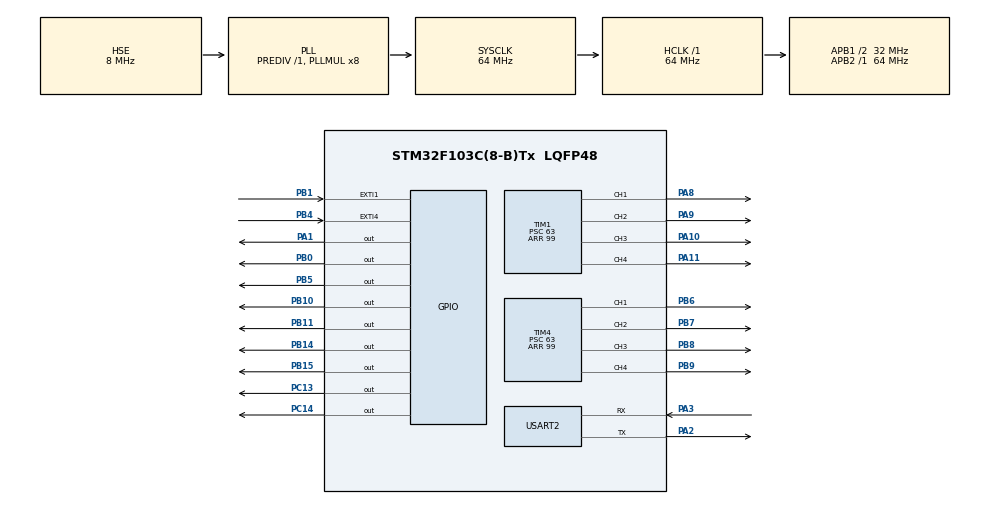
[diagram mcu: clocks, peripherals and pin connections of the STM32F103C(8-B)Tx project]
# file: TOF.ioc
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IWDG.Prescaler=IWDG_PRESCALER_64
IWDG.Reload=1875
Mcu.Family=STM32F1
Mcu.Name=STM32F103C(8-B)Tx
Mcu.Package=LQFP48
NVIC.EXTI1_IRQn=true\:1\:0\:true\:false\:true\:true\:true
NVIC.EXTI4_IRQn=true\:2\:0\:true\:false\:true\:true\:true
NVIC.PriorityGroup=NVIC_PRIORITYGROUP_2
PA1.Signal=GPIO_Output
PA10.Signal=S_TIM1_CH3
PA11.Signal=S_TIM1_CH4
PA13.Mode=Serial_Wire
PA13.Signal=SYS_JTMS-SWDIO
PA14.Mode=Serial_Wire
PA14.Signal=SYS_JTCK-SWCLK
PA2.Mode=Asynchronous
PA2.Signal=USART2_TX
PA3.Mode=Asynchronous
PA3.Signal=USART2_RX
PA8.Signal=S_TIM1_CH1
PA9.Signal=S_TIM1_CH2
PB0.Signal=GPIO_Output
PB1.Signal=GPXTI1
PB10.Signal=GPIO_Output
PB11.Signal=GPIO_Output
PB14.Signal=GPIO_Output
PB15.Signal=GPIO_Output
PB4.GPIO_ModeDefaultEXTI=GPIO_MODE_IT_FALLING
PB4.GPIO_PuPd=GPIO_PULLUP
PB4.Signal=GPXTI4
PB5.Signal=GPIO_Output
PB6.Signal=S_TIM4_CH1
PB7.Signal=S_TIM4_CH2
PB8.Signal=S_TIM4_CH3
PB9.Signal=S_TIM4_CH4
PC13-TAMPER-RTC.GPIO_ModeDefaultOutputPP=GPIO_MODE_OUTPUT_OD
PC13-TAMPER-RTC.Signal=GPIO_Output
PC14-OSC32_IN.GPIO_ModeDefaultOutputPP=GPIO_MODE_OUTPUT_OD
PC14-OSC32_IN.Signal=GPIO_Output
PD0-OSC_IN.Mode=HSE-External-Oscillator
PD0-OSC_IN.Signal=RCC_OSC_IN
PD1-OSC_OUT.Mode=HSE-External-Oscillator
PD1-OSC_OUT.Signal=RCC_OSC_OUT
ProjectManager.HeapSize=0x200
ProjectManager.StackSize=0x400
ProjectManager.TargetToolchain=MDK-ARM V5
RCC.AHBFreq_Value=64000000
RCC.APB1CLKDivider=RCC_HCLK_DIV2
RCC.APB1Freq_Value=32000000
RCC.APB1TimFreq_Value=64000000
RCC.APB2Freq_Value=64000000
RCC.APB2TimFreq_Value=64000000
RCC.EnbaleCSS=true
RCC.HCLKFreq_Value=64000000
RCC.PLLMUL=RCC_PLL_MUL8
RCC.PLLSourceVirtual=RCC_PLLSOURCE_HSE
RCC.SYSCLKFreq_VALUE=64000000
RCC.SYSCLKSource=RCC_SYSCLKSOURCE_PLLCLK
RCC.TimSys_Div=SYSTICK_CLKSOURCE_HCLK_DIV8
RCC.USBFreq_Value=64000000
SH.S_TIM1_CH1.0=TIM1_CH1,PWM Generation1 CH1
SH.S_TIM1_CH2.0=TIM1_CH2,PWM Generation2 CH2
SH.S_TIM1_CH3.0=TIM1_CH3,PWM Generation3 CH3
SH.S_TIM1_CH4.0=TIM1_CH4,PWM Generation4 CH4
SH.S_TIM4_CH1.0=TIM4_CH1,PWM Generation1 CH1
SH.S_TIM4_CH2.0=TIM4_CH2,PWM Generation2 CH2
SH.S_TIM4_CH3.0=TIM4_CH3,PWM Generation3 CH3
SH.S_TIM4_CH4.0=TIM4_CH4,PWM Generation4 CH4
TIM1.AutoReloadPreload=TIM_AUTORELOAD_PRELOAD_ENABLE
TIM1.Channel-PWM\ Generation1\ CH1=TIM_CHANNEL_1
TIM1.Channel-PWM\ Generation2\ CH2=TIM_CHANNEL_2
TIM1.Channel-PWM\ Generation3\ CH3=TIM_CHANNEL_3
TIM1.Channel-PWM\ Generation4\ CH4=TIM_CHANNEL_4
TIM1.Period=99
TIM1.Prescaler=63
TIM4.AutoReloadPreload=TIM_AUTORELOAD_PRELOAD_ENABLE
TIM4.Channel-PWM\ Generation1\ CH1=TIM_CHANNEL_1
TIM4.Channel-PWM\ Generation2\ CH2=TIM_CHANNEL_2
TIM4.Channel-PWM\ Generation3\ CH3=TIM_CHANNEL_3
TIM4.Channel-PWM\ Generation4\ CH4=TIM_CHANNEL_4
TIM4.Period=99
TIM4.Prescaler=63
USART2.VirtualMode=VM_ASYNC
VP_IWDG_VS_IWDG.Mode=IWDG_Activate
VP_TIM1_VS_ClockSourceINT.Mode=Internal
VP_TIM4_VS_ClockSourceINT.Mode=Internal
board=custom

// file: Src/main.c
/* USER CODE BEGIN Header */
/**
  ******************************************************************************
  * @file           : main.c
  * @brief          : Main program body
  ******************************************************************************
  * @attention
  *
  * <h2><center>&copy; Copyright (c) 2020 STMicroelectronics.
  * All rights reserved.</center></h2>
  *
  * This software component is licensed by ST under BSD 3-Clause license,
  * the "License"; You may not use this file except in compliance with the
  * License. You may obtain a copy of the License at:
  *                        opensource.org/licenses/BSD-3-Clause
  *
  ******************************************************************************
  */
/* USER CODE END Header */

#include "main.h"
#include "iwdg.h"
#include "tim.h"
#include "usart.h"
#include "gpio.h"

/* USER CODE BEGIN Includes */
#include "i2c.h"
#include "report.h"
#include "ads7924.h"
#include "vl53l0x.h"
#include "os_app_hooks.h"
#include "task_includes.h"
/* USER CODE END Includes */

/* USER CODE BEGIN PD */
#define DBG_TAG		"main"
#define DBG_LEVEL	DBG_LOG
#include "debug.h"
/* USER CODE END PD */

/* USER CODE BEGIN PV */

/* Private variables ---------------------------------------------------------*/
//注意这里任务优先级从3开始，1和2分别被
//时钟节拍任务和定时器任务占用
//任务优先级
#define START_TASK_PRIO  3
//任务堆栈大小
#define START_STK_SIZE 256
__IO OS_TCB StartTaskTCB;
//任务堆栈
__align(8) __IO CPU_STK START_TASK_STK[START_STK_SIZE];
//任务函数
void start_task(void *p_arg);
/* USER CODE END PV */

void SystemClock_Config(void);

int main(void)
{

  /* MCU Configuration--------------------------------------------------------*/

  /* Reset of all peripherals, Initializes the Flash interface and the Systick. */
  HAL_Init();

  /* USER CODE BEGIN Init */
	OS_ERR err;
	CPU_SR_ALLOC();
	CPU_IntDis();
  /* USER CODE END Init */

  /* Configure the system clock */
  SystemClock_Config();

  /* Initialize all configured peripherals */
  MX_GPIO_Init();
  MX_IWDG_Init();
  MX_TIM1_Init();
  MX_TIM4_Init();
  MX_USART2_UART_Init();
  /* USER CODE BEGIN 2 */

	/*注意 硬件初始化放这里 不能正常运行 要要放到开始任务里面初始化*/
	OSInit(&err);			//初始化UCOSIII
	OS_CRITICAL_ENTER();	//进入临界区

	//创建开始任务,减少任务的创建时间，使得系统最快进入运行状态
	OSTaskCreate((OS_TCB 	* )&StartTaskTCB,		//任务控制块
				 (CPU_CHAR	* )"start task", 		//任务名字
                 (OS_TASK_PTR )start_task, 			//任务函数
                 (void		* )0,					//传递给任务函数的参数
                 (OS_PRIO	  )START_TASK_PRIO,     //任务优先级
                 (CPU_STK   * )&START_TASK_STK[0],	//任务堆栈基地址
                 (CPU_STK_SIZE)START_STK_SIZE/10,	//任务堆栈深度限位
                 (CPU_STK_SIZE)START_STK_SIZE,		//任务堆栈大小
                 (OS_MSG_QTY  )0,					//任务内部消息队列能够接收的最大消息数目,为0时禁止接收消息
                 (OS_TICK	  )0,					//当使能时间片轮转时的时间片长度，为0时为默认长度，
                 (void   	* )0,					//用户补充的存储区
                 (OS_OPT      )OS_OPT_TASK_STK_CHK|OS_OPT_TASK_STK_CLR, //任务选项
                 (OS_ERR 	* )&err);				//存放该函数错误时的返回值

	OS_CRITICAL_EXIT(); 	//退出临界区
	OSStart(&err); 			//开启UCOSIII
	CPU_IntEn();
  /* USER CODE END 2 */

  /* Infinite loop */
  while (1)
  {

  }
}

void SystemClock_Config(void)
{
  RCC_OscInitTypeDef RCC_OscInitStruct = {0};
  RCC_ClkInitTypeDef RCC_ClkInitStruct = {0};

  /** Initializes the CPU, AHB and APB busses clocks
  */
  RCC_OscInitStruct.OscillatorType = RCC_OSCILLATORTYPE_LSI|RCC_OSCILLATORTYPE_HSE;
  RCC_OscInitStruct.HSEState = RCC_HSE_ON;
  RCC_OscInitStruct.HSEPredivValue = RCC_HSE_PREDIV_DIV1;
  RCC_OscInitStruct.HSIState = RCC_HSI_ON;
  RCC_OscInitStruct.LSIState = RCC_LSI_ON;
  RCC_OscInitStruct.PLL.PLLState = RCC_PLL_ON;
  RCC_OscInitStruct.PLL.PLLSource = RCC_PLLSOURCE_HSE;
  RCC_OscInitStruct.PLL.PLLMUL = RCC_PLL_MUL8;
  if (HAL_RCC_OscConfig(&RCC_OscInitStruct) != HAL_OK)
  {
    Error_Handler();
  }
  /** Initializes the CPU, AHB and APB busses clocks
  */
  RCC_ClkInitStruct.ClockType = RCC_CLOCKTYPE_HCLK|RCC_CLOCKTYPE_SYSCLK
                              |RCC_CLOCKTYPE_PCLK1|RCC_CLOCKTYPE_PCLK2;
  RCC_ClkInitStruct.SYSCLKSource = RCC_SYSCLKSOURCE_PLLCLK;
  RCC_ClkInitStruct.AHBCLKDivider = RCC_SYSCLK_DIV1;
  RCC_ClkInitStruct.APB1CLKDivider = RCC_HCLK_DIV2;
  RCC_ClkInitStruct.APB2CLKDivider = RCC_HCLK_DIV1;

  if (HAL_RCC_ClockConfig(&RCC_ClkInitStruct, FLASH_LATENCY_2) != HAL_OK)
  {
    Error_Handler();
  }
  /** Enables the Clock Security System
  */
  HAL_RCC_EnableCSS();
}

/* USER CODE BEGIN 4 */

//开始任务
void start_task(void *p_arg)
{
	OS_ERR err;
	CPU_SR_ALLOC();
	p_arg = p_arg;

	CPU_Init();
#if OS_CFG_STAT_TASK_EN > 0u
   OSStatTaskCPUUsageInit(&err);  	//统计任务
#endif

#ifdef CPU_CFG_INT_DIS_MEAS_EN		//如果使能了测量中断关闭时间
    CPU_IntDisMeasMaxCurReset();
#endif

#if	OS_CFG_SCHED_ROUND_ROBIN_EN  	//当使用时间片轮转的时候
	//使能时间片轮转调度功能,时间片长度为1个系统时钟节拍，既1*1=1ms
	OSSchedRoundRobinCfg(DEF_ENABLED,1,&err);
#endif
#if OS_CFG_APP_HOOKS_EN > 0u
    App_OS_SetAllHooks();			//使用钩子函数时初始化钩子指针
#endif

	OS_CRITICAL_ENTER();			//进入临界区

	/*	wait for master's response	*/
//	while(REPORT_ERROR == report_send_info(REPORT_START))
//	{
//		LOG_W("send start info,get master ack failed!");
//	}

	/* DEVICE INIT CODE BEGIN */

	i2c_bus_init();
	extern VL53L0X_Dev_t vl53l0x_dev;//设备I2C数据参数
	if(VL53L0X_ERROR_NONE != vl53l0x_init(&vl53l0x_dev))
		LOG_E("vl53l0x_init failed!");
	if(VL53L0X_ERROR_NONE != vl53l0x_set_mode(&vl53l0x_dev,0))
		LOG_E("vl53l0x_set_mode status failed!");
//	if(ADS7924_OK != ads7924_init())
//	{
//		LOG_E("ads7924_init failed! stopping task initialization");
//		// maybe report some information
////		while(REPORT_ERROR == report_send_info(REPORT_FAIL)){};
//		goto main_err;
//	}

	/* DEVICE INIT CODE END */

	/*	init task lock	*/
	extern OS_MUTEX task_lock;
	OSMutexCreate(&task_lock,"task_lock",&err);
	/*	init task lock	*/

	/*	this task will wait for the master's command	*/
	OSTaskCreate((OS_TCB 	* )&LaunchTaskTCB,		//任务控制块
				 (CPU_CHAR	* )"launch task", 		//任务名字
                 (OS_TASK_PTR )launch_task, 		//任务函数
                 (void		* )0,					//传递给任务函数的参数
                 (OS_PRIO	  )LAUNCH_TASK_PRIO,    //任务优先级
                 (CPU_STK   * )&LAUNCH_TASK_STK[0],	//任务堆栈基地址
                 (CPU_STK_SIZE)LAUNCH_STK_SIZE/10,	//任务堆栈深度限位
                 (CPU_STK_SIZE)LAUNCH_STK_SIZE,		//任务堆栈大小
                 (OS_MSG_QTY  )0,					//任务内部消息队列能够接收的最大消息数目,为0时禁止接收消息
                 (OS_TICK	  )0,					//当使能时间片轮转时的时间片长度，为0时为默认长度，
                 (void   	* )0,					//用户补充的存储区
                 (OS_OPT      )OS_OPT_TASK_STK_CHK|OS_OPT_TASK_STK_CLR, //任务选项
                 (OS_ERR 	* )&err);				//存放该函数错误时的返回值

	LOG_I("start_task : start task inited!");
//main_err:
	OS_CRITICAL_EXIT();				//退出临界区
	OSTaskDel((OS_TCB*)0,&err);		//删除start_task任务自身
}

/* USER CODE END 4 */

void Error_Handler(void)
{
  /* USER CODE BEGIN Error_Handler_Debug */
  /* User can add his own implementation to report the HAL error return state */
	LOG_E("Error_Handler!");
  /* USER CODE END Error_Handler_Debug */
}

/************************ (C) COPYRIGHT STMicroelectronics *****END OF FILE****/
